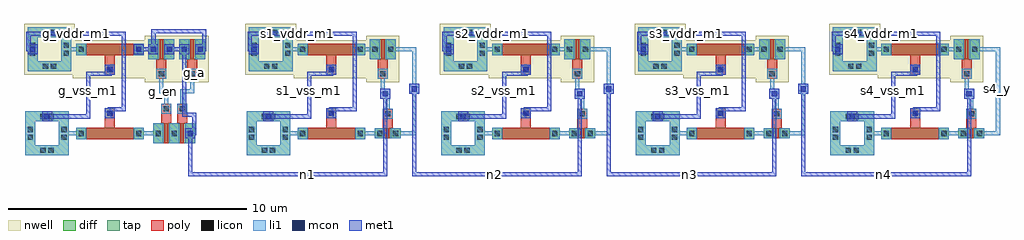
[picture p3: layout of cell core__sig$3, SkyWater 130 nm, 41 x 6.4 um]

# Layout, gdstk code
from math import pi, radians
import gdstk
lib = gdstk.Library(unit=1e-6, precision=1e-09)
def R(c, l, rs):  # rectangles x0, y0, x1, y1
    for r in rs: c.add(gdstk.rectangle(r[:2], r[2:], *l))
def A(c, l, x, y, w, h, nx, ny, dx, dy):  # array of equal rectangles
    R(c, l, [(x+i*dx, y+j*dy, x+i*dx+w, y+j*dy+h) for i in range(nx) for j in range(ny)])
def P(c, l, *ps):  # polygons
    for p in ps: c.add(gdstk.Polygon(p, *l))
nwell = (64, 20)
diff = (65, 20)
tap = (65, 44)
poly = (66, 20)
licon = (66, 44)
li1 = (67, 20)
mcon = (67, 44)
met1 = (68, 20)

mos_array_3_4_3 = lib.new_cell('mos_array$3$4$3')
R(mos_array_3_4_3, nwell, [(-0.15,-0.15,1.24,1.81)])
R(mos_array_3_4_3, diff, [(0,0,1.09,0.84)])
R(mos_array_3_4_3, poly, [(0.47,0,0.62,0.84), (0.335,0.84,0.755,1.66)])
R(mos_array_3_4_3, licon, [(0.1,0.31,0.32,0.53), (0.77,0.31,0.99,0.53), (0.435,1.34,0.655,1.56)])
R(mos_array_3_4_3, li1, [(0,0,0.42,0.84), (0.67,0,1.09,0.84), (0.335,1.24,0.755,1.66)])

mp__mp_3_3 = lib.new_cell('mp__mp$3$3')
mp__mp_3_3.add(gdstk.Reference(mos_array_3_4_3, (0,0)))

guard_ring_1_4_3 = lib.new_cell('guard_ring$1$4$3')
R(guard_ring_1_4_3, nwell, [(-0.15,-0.15,1.99,1.99)])
P(guard_ring_1_4_3, tap, [(0,0),(0,1.42),(0.42,1.42),(0.42,0.42),(1.42,0.42),(1.42,1.42),(0,1.42),(0,1.84),(1.84,1.84),(1.84,0)])
R(guard_ring_1_4_3, licon, [(0.643,0.1,0.863,0.32), (0.977,0.1,1.197,0.32), (0.1,0.643,0.32,0.863), (1.52,0.643,1.74,0.863), (0.1,0.977,0.32,1.197), (1.52,0.977,1.74,1.197), (0.643,1.52,0.863,1.74), (0.977,1.52,1.197,1.74)])
P(guard_ring_1_4_3, li1, [(0,0),(0,1.42),(0.42,1.42),(0.42,0.42),(1.42,0.42),(1.42,1.42),(0,1.42),(0,1.84),(1.84,1.84),(1.84,0)])

nwell_tap__nwell_tap_4_3 = lib.new_cell('nwell_tap__nwell_tap$4$3')
nwell_tap__nwell_tap_4_3.add(gdstk.Reference(guard_ring_1_4_3, (0,0)))

mos_array_2_4_3 = lib.new_cell('mos_array$2$4$3')
R(mos_array_2_4_3, nwell, [(-0.15,-0.15,2.99,1.45)])
R(mos_array_2_4_3, diff, [(0,0,2.84,0.48)])
R(mos_array_2_4_3, poly, [(0.42,0,2.42,0.48), (1.21,0.48,1.63,1.3)])
R(mos_array_2_4_3, licon, [(0.1,0.13,0.32,0.35), (2.52,0.13,2.74,0.35), (1.31,0.98,1.53,1.2)])
R(mos_array_2_4_3, li1, [(0,0,0.42,0.48), (2.42,0,2.84,0.48), (1.21,0.88,1.63,1.3)])

mph__mph_4_3 = lib.new_cell('mph__mph$4$3')
mph__mph_4_3.add(gdstk.Reference(mos_array_2_4_3, (0,0)))

mos_array_1_4_3 = lib.new_cell('mos_array$1$4$3')
R(mos_array_1_4_3, diff, [(0,0,1.09,0.42)])
R(mos_array_1_4_3, poly, [(0.47,0,0.62,0.42), (0.335,0.42,0.755,1.24)])
R(mos_array_1_4_3, licon, [(0.1,0.1,0.32,0.32), (0.77,0.1,0.99,0.32), (0.435,0.92,0.655,1.14)])
R(mos_array_1_4_3, li1, [(0,0,0.42,0.42), (0.67,0,1.09,0.42), (0.335,0.82,0.755,1.24)])

mn__mn_3_3 = lib.new_cell('mn__mn$3$3')
mn__mn_3_3.add(gdstk.Reference(mos_array_1_4_3, (0,0)))

guard_ring_5_3 = lib.new_cell('guard_ring$5$3')
P(guard_ring_5_3, tap, [(0,0),(0,1.42),(0.42,1.42),(0.42,0.42),(1.42,0.42),(1.42,1.42),(0,1.42),(0,1.84),(1.84,1.84),(1.84,0)])
R(guard_ring_5_3, licon, [(0.643,0.1,0.863,0.32), (0.977,0.1,1.197,0.32), (0.1,0.643,0.32,0.863), (1.52,0.643,1.74,0.863), (0.1,0.977,0.32,1.197), (1.52,0.977,1.74,1.197), (0.643,1.52,0.863,1.74), (0.977,1.52,1.197,1.74)])
P(guard_ring_5_3, li1, [(0,0),(0,1.42),(0.42,1.42),(0.42,0.42),(1.42,0.42),(1.42,1.42),(0,1.42),(0,1.84),(1.84,1.84),(1.84,0)])

psub_tap__psub_tap_4_3 = lib.new_cell('psub_tap__psub_tap$4$3')
psub_tap__psub_tap_4_3.add(gdstk.Reference(guard_ring_5_3, (0,0)))

mos_array_8_3 = lib.new_cell('mos_array$8$3')
R(mos_array_8_3, diff, [(0,0,2.84,0.48)])
R(mos_array_8_3, poly, [(0.42,0,2.42,0.48), (1.21,0.48,1.63,1.3)])
R(mos_array_8_3, licon, [(0.1,0.13,0.32,0.35), (2.52,0.13,2.74,0.35), (1.31,0.98,1.53,1.2)])
R(mos_array_8_3, li1, [(0,0,0.42,0.48), (2.42,0,2.84,0.48), (1.21,0.88,1.63,1.3)])

mnt__mnt_4_3 = lib.new_cell('mnt__mnt$4$3')
mnt__mnt_4_3.add(gdstk.Reference(mos_array_8_3, (0,0)))

core__core_4_3 = lib.new_cell('core__core$4$3')
R(core__core_4_3, li1, [(3.575,1.03,3.995,1.2), (3.375,2.54,3.795,2.71)])
core__core_4_3.add(gdstk.FlexPath([(3.585,2.71),(3.585,1.87),(3.785,1.87),(3.785,1.03)], 0.17, ends="flush", simple_path=True, layer=67, datatype=20))  # li1
core__core_4_3.add(gdstk.FlexPath([(3.92,3.74),(4.9,3.74),(4.9,0.21),(4.12,0.21)], 0.17, ends="flush", simple_path=True, layer=67, datatype=20))  # li1
core__core_4_3.add(gdstk.FlexPath([(2.63,3.74),(3.25,3.74)], 0.17, ends="flush", simple_path=True, layer=67, datatype=20))  # li1
core__core_4_3.add(gdstk.FlexPath([(2.63,0.21),(3.45,0.21)], 0.17, ends="flush", simple_path=True, layer=67, datatype=20))  # li1
core__core_4_3.add(gdstk.FlexPath([(0.21,3.74),(-0.41,3.74)], 0.17, ends="flush", simple_path=True, layer=67, datatype=20))  # li1
core__core_4_3.add(gdstk.FlexPath([(0.21,0.21),(-0.51,0.21)], 0.17, ends="flush", simple_path=True, layer=67, datatype=20))  # li1
core__core_4_3.add(gdstk.Reference(mp__mp_3_3, (3.04,4.16), x_reflection=True))
core__core_4_3.add(gdstk.Reference(nwell_tap__nwell_tap_4_3, (-2.04,2.82)))
core__core_4_3.add(gdstk.Reference(mph__mph_4_3, (0,3.98), x_reflection=True))
core__core_4_3.add(gdstk.Reference(mn__mn_3_3, (3.24,0)))
core__core_4_3.add(gdstk.Reference(psub_tap__psub_tap_4_3, (-2.14,-0.71)))
core__core_4_3.add(gdstk.Reference(mnt__mnt_4_3, (0,-0.03)))
core__core_4_3.add(gdstk.Label('a', (3.685,1.87), layer=67, texttype=5))
core__core_4_3.add(gdstk.Label('y', (4.9,2.075), layer=67, texttype=5))
core__core_4_3.add(gdstk.Label('py', (2.94,3.74), layer=67, texttype=5))
core__core_4_3.add(gdstk.Label('ny', (3.04,0.21), layer=67, texttype=5))
core__core_4_3.add(gdstk.Label('vddr', (-0.1,3.74), layer=67, texttype=5))
core__core_4_3.add(gdstk.Label('vss', (-0.15,0.21), layer=67, texttype=5))
core__core_4_3.add(gdstk.Label('vddr', (-1.83,3.74), layer=67, texttype=5))
core__core_4_3.add(gdstk.Label('vss', (-1.22,0.92), layer=67, texttype=5))
core__core_4_3.add(gdstk.Label('mph_g', (1.42,2.89), layer=67, texttype=5))
core__core_4_3.add(gdstk.Label('mnt_g', (1.42,1.06), layer=67, texttype=5))

s4__ro_stage_wstv0p48 = lib.new_cell('s4__ro_stage_wstv0p48')
R(s4__ro_stage_wstv0p48, li1, [(-1.43,0.71,-1.01,1.13), (1.21,0.85,1.63,1.27), (1.21,2.68,1.63,3.1), (-2.04,3.53,-1.62,3.95)])
R(s4__ro_stage_wstv0p48, mcon, [(-1.33,0.81,-1.11,1.03), (1.31,0.95,1.53,1.17), (1.31,2.78,1.53,3), (-1.94,3.63,-1.72,3.85)])
R(s4__ro_stage_wstv0p48, met1, [(-1.43,0.71,-1.01,1.13), (1.21,0.85,1.63,1.27), (1.21,2.68,1.63,3.1), (-2.04,3.53,-1.62,3.95)])
s4__ro_stage_wstv0p48.add(gdstk.FlexPath([(1.42,2.89),(1.42,2.72),(0.5,2.72),(0.5,0.92),(-1.22,0.92),(-1.22,0.92)], 0.17, ends="flush", simple_path=True, layer=68, datatype=20))  # met1
s4__ro_stage_wstv0p48.add(gdstk.FlexPath([(1.42,1.06),(1.42,1.23),(2.4,1.23),(2.4,4.4),(-2,4.4),(-2,3.74),(-1.83,3.74)], 0.17, ends="flush", simple_path=True, layer=68, datatype=20))  # met1
s4__ro_stage_wstv0p48.add(gdstk.Reference(core__core_4_3, (0,0)))
s4__ro_stage_wstv0p48.add(gdstk.Label('vss', (0.5,1.505), layer=68, texttype=5))
s4__ro_stage_wstv0p48.add(gdstk.Label('vddr', (1.945,4.4), layer=68, texttype=5))

mos_array_3_3_3 = lib.new_cell('mos_array$3$3$3')
R(mos_array_3_3_3, nwell, [(-0.15,-0.15,1.24,1.81)])
R(mos_array_3_3_3, diff, [(0,0,1.09,0.84)])
R(mos_array_3_3_3, poly, [(0.47,0,0.62,0.84), (0.335,0.84,0.755,1.66)])
R(mos_array_3_3_3, licon, [(0.1,0.31,0.32,0.53), (0.77,0.31,0.99,0.53), (0.435,1.34,0.655,1.56)])
R(mos_array_3_3_3, li1, [(0,0,0.42,0.84), (0.67,0,1.09,0.84), (0.335,1.24,0.755,1.66)])

mp__mp_2_3 = lib.new_cell('mp__mp$2$3')
mp__mp_2_3.add(gdstk.Reference(mos_array_3_3_3, (0,0)))

guard_ring_1_3_3 = lib.new_cell('guard_ring$1$3$3')
R(guard_ring_1_3_3, nwell, [(-0.15,-0.15,1.99,1.99)])
P(guard_ring_1_3_3, tap, [(0,0),(0,1.42),(0.42,1.42),(0.42,0.42),(1.42,0.42),(1.42,1.42),(0,1.42),(0,1.84),(1.84,1.84),(1.84,0)])
R(guard_ring_1_3_3, licon, [(0.643,0.1,0.863,0.32), (0.977,0.1,1.197,0.32), (0.1,0.643,0.32,0.863), (1.52,0.643,1.74,0.863), (0.1,0.977,0.32,1.197), (1.52,0.977,1.74,1.197), (0.643,1.52,0.863,1.74), (0.977,1.52,1.197,1.74)])
P(guard_ring_1_3_3, li1, [(0,0),(0,1.42),(0.42,1.42),(0.42,0.42),(1.42,0.42),(1.42,1.42),(0,1.42),(0,1.84),(1.84,1.84),(1.84,0)])

nwell_tap__nwell_tap_3_3 = lib.new_cell('nwell_tap__nwell_tap$3$3')
nwell_tap__nwell_tap_3_3.add(gdstk.Reference(guard_ring_1_3_3, (0,0)))

mos_array_2_3_3 = lib.new_cell('mos_array$2$3$3')
R(mos_array_2_3_3, nwell, [(-0.15,-0.15,2.99,1.45)])
R(mos_array_2_3_3, diff, [(0,0,2.84,0.48)])
R(mos_array_2_3_3, poly, [(0.42,0,2.42,0.48), (1.21,0.48,1.63,1.3)])
R(mos_array_2_3_3, licon, [(0.1,0.13,0.32,0.35), (2.52,0.13,2.74,0.35), (1.31,0.98,1.53,1.2)])
R(mos_array_2_3_3, li1, [(0,0,0.42,0.48), (2.42,0,2.84,0.48), (1.21,0.88,1.63,1.3)])

mph__mph_3_3 = lib.new_cell('mph__mph$3$3')
mph__mph_3_3.add(gdstk.Reference(mos_array_2_3_3, (0,0)))

mos_array_1_3_3 = lib.new_cell('mos_array$1$3$3')
R(mos_array_1_3_3, diff, [(0,0,1.09,0.42)])
R(mos_array_1_3_3, poly, [(0.47,0,0.62,0.42), (0.335,0.42,0.755,1.24)])
R(mos_array_1_3_3, licon, [(0.1,0.1,0.32,0.32), (0.77,0.1,0.99,0.32), (0.435,0.92,0.655,1.14)])
R(mos_array_1_3_3, li1, [(0,0,0.42,0.42), (0.67,0,1.09,0.42), (0.335,0.82,0.755,1.24)])

mn__mn_2_3 = lib.new_cell('mn__mn$2$3')
mn__mn_2_3.add(gdstk.Reference(mos_array_1_3_3, (0,0)))

guard_ring_4_3 = lib.new_cell('guard_ring$4$3')
P(guard_ring_4_3, tap, [(0,0),(0,1.42),(0.42,1.42),(0.42,0.42),(1.42,0.42),(1.42,1.42),(0,1.42),(0,1.84),(1.84,1.84),(1.84,0)])
R(guard_ring_4_3, licon, [(0.643,0.1,0.863,0.32), (0.977,0.1,1.197,0.32), (0.1,0.643,0.32,0.863), (1.52,0.643,1.74,0.863), (0.1,0.977,0.32,1.197), (1.52,0.977,1.74,1.197), (0.643,1.52,0.863,1.74), (0.977,1.52,1.197,1.74)])
P(guard_ring_4_3, li1, [(0,0),(0,1.42),(0.42,1.42),(0.42,0.42),(1.42,0.42),(1.42,1.42),(0,1.42),(0,1.84),(1.84,1.84),(1.84,0)])

psub_tap__psub_tap_3_3 = lib.new_cell('psub_tap__psub_tap$3$3')
psub_tap__psub_tap_3_3.add(gdstk.Reference(guard_ring_4_3, (0,0)))

mos_array_7_3 = lib.new_cell('mos_array$7$3')
R(mos_array_7_3, diff, [(0,0,2.84,0.48)])
R(mos_array_7_3, poly, [(0.42,0,2.42,0.48), (1.21,0.48,1.63,1.3)])
R(mos_array_7_3, licon, [(0.1,0.13,0.32,0.35), (2.52,0.13,2.74,0.35), (1.31,0.98,1.53,1.2)])
R(mos_array_7_3, li1, [(0,0,0.42,0.48), (2.42,0,2.84,0.48), (1.21,0.88,1.63,1.3)])

mnt__mnt_3_3 = lib.new_cell('mnt__mnt$3$3')
mnt__mnt_3_3.add(gdstk.Reference(mos_array_7_3, (0,0)))

core__core_3_3 = lib.new_cell('core__core$3$3')
R(core__core_3_3, li1, [(3.575,1.03,3.995,1.2), (3.375,2.54,3.795,2.71)])
core__core_3_3.add(gdstk.FlexPath([(3.585,2.71),(3.585,1.87),(3.785,1.87),(3.785,1.03)], 0.17, ends="flush", simple_path=True, layer=67, datatype=20))  # li1
core__core_3_3.add(gdstk.FlexPath([(3.92,3.74),(4.9,3.74),(4.9,0.21),(4.12,0.21)], 0.17, ends="flush", simple_path=True, layer=67, datatype=20))  # li1
core__core_3_3.add(gdstk.FlexPath([(2.63,3.74),(3.25,3.74)], 0.17, ends="flush", simple_path=True, layer=67, datatype=20))  # li1
core__core_3_3.add(gdstk.FlexPath([(2.63,0.21),(3.45,0.21)], 0.17, ends="flush", simple_path=True, layer=67, datatype=20))  # li1
core__core_3_3.add(gdstk.FlexPath([(0.21,3.74),(-0.41,3.74)], 0.17, ends="flush", simple_path=True, layer=67, datatype=20))  # li1
core__core_3_3.add(gdstk.FlexPath([(0.21,0.21),(-0.51,0.21)], 0.17, ends="flush", simple_path=True, layer=67, datatype=20))  # li1
core__core_3_3.add(gdstk.Reference(mp__mp_2_3, (3.04,4.16), x_reflection=True))
core__core_3_3.add(gdstk.Reference(nwell_tap__nwell_tap_3_3, (-2.04,2.82)))
core__core_3_3.add(gdstk.Reference(mph__mph_3_3, (0,3.98), x_reflection=True))
core__core_3_3.add(gdstk.Reference(mn__mn_2_3, (3.24,0)))
core__core_3_3.add(gdstk.Reference(psub_tap__psub_tap_3_3, (-2.14,-0.71)))
core__core_3_3.add(gdstk.Reference(mnt__mnt_3_3, (0,-0.03)))
core__core_3_3.add(gdstk.Label('a', (3.685,1.87), layer=67, texttype=5))
core__core_3_3.add(gdstk.Label('y', (4.9,2.075), layer=67, texttype=5))
core__core_3_3.add(gdstk.Label('py', (2.94,3.74), layer=67, texttype=5))
core__core_3_3.add(gdstk.Label('ny', (3.04,0.21), layer=67, texttype=5))
core__core_3_3.add(gdstk.Label('vddr', (-0.1,3.74), layer=67, texttype=5))
core__core_3_3.add(gdstk.Label('vss', (-0.15,0.21), layer=67, texttype=5))
core__core_3_3.add(gdstk.Label('vddr', (-1.83,3.74), layer=67, texttype=5))
core__core_3_3.add(gdstk.Label('vss', (-1.22,0.92), layer=67, texttype=5))
core__core_3_3.add(gdstk.Label('mph_g', (1.42,2.89), layer=67, texttype=5))
core__core_3_3.add(gdstk.Label('mnt_g', (1.42,1.06), layer=67, texttype=5))

s3__ro_stage_wstv0p48 = lib.new_cell('s3__ro_stage_wstv0p48')
R(s3__ro_stage_wstv0p48, li1, [(-1.43,0.71,-1.01,1.13), (1.21,0.85,1.63,1.27), (1.21,2.68,1.63,3.1), (-2.04,3.53,-1.62,3.95)])
R(s3__ro_stage_wstv0p48, mcon, [(-1.33,0.81,-1.11,1.03), (1.31,0.95,1.53,1.17), (1.31,2.78,1.53,3), (-1.94,3.63,-1.72,3.85)])
R(s3__ro_stage_wstv0p48, met1, [(-1.43,0.71,-1.01,1.13), (1.21,0.85,1.63,1.27), (1.21,2.68,1.63,3.1), (-2.04,3.53,-1.62,3.95)])
s3__ro_stage_wstv0p48.add(gdstk.FlexPath([(1.42,2.89),(1.42,2.72),(0.5,2.72),(0.5,0.92),(-1.22,0.92),(-1.22,0.92)], 0.17, ends="flush", simple_path=True, layer=68, datatype=20))  # met1
s3__ro_stage_wstv0p48.add(gdstk.FlexPath([(1.42,1.06),(1.42,1.23),(2.4,1.23),(2.4,4.4),(-2,4.4),(-2,3.74),(-1.83,3.74)], 0.17, ends="flush", simple_path=True, layer=68, datatype=20))  # met1
s3__ro_stage_wstv0p48.add(gdstk.Reference(core__core_3_3, (0,0)))
s3__ro_stage_wstv0p48.add(gdstk.Label('vss', (0.5,1.505), layer=68, texttype=5))
s3__ro_stage_wstv0p48.add(gdstk.Label('vddr', (1.945,4.4), layer=68, texttype=5))

mos_array_3_2_3 = lib.new_cell('mos_array$3$2$3')
R(mos_array_3_2_3, nwell, [(-0.15,-0.15,1.24,1.81)])
R(mos_array_3_2_3, diff, [(0,0,1.09,0.84)])
R(mos_array_3_2_3, poly, [(0.47,0,0.62,0.84), (0.335,0.84,0.755,1.66)])
R(mos_array_3_2_3, licon, [(0.1,0.31,0.32,0.53), (0.77,0.31,0.99,0.53), (0.435,1.34,0.655,1.56)])
R(mos_array_3_2_3, li1, [(0,0,0.42,0.84), (0.67,0,1.09,0.84), (0.335,1.24,0.755,1.66)])

mp__mp_1_3 = lib.new_cell('mp__mp$1$3')
mp__mp_1_3.add(gdstk.Reference(mos_array_3_2_3, (0,0)))

guard_ring_1_2_3 = lib.new_cell('guard_ring$1$2$3')
R(guard_ring_1_2_3, nwell, [(-0.15,-0.15,1.99,1.99)])
P(guard_ring_1_2_3, tap, [(0,0),(0,1.42),(0.42,1.42),(0.42,0.42),(1.42,0.42),(1.42,1.42),(0,1.42),(0,1.84),(1.84,1.84),(1.84,0)])
R(guard_ring_1_2_3, licon, [(0.643,0.1,0.863,0.32), (0.977,0.1,1.197,0.32), (0.1,0.643,0.32,0.863), (1.52,0.643,1.74,0.863), (0.1,0.977,0.32,1.197), (1.52,0.977,1.74,1.197), (0.643,1.52,0.863,1.74), (0.977,1.52,1.197,1.74)])
P(guard_ring_1_2_3, li1, [(0,0),(0,1.42),(0.42,1.42),(0.42,0.42),(1.42,0.42),(1.42,1.42),(0,1.42),(0,1.84),(1.84,1.84),(1.84,0)])

nwell_tap__nwell_tap_2_3 = lib.new_cell('nwell_tap__nwell_tap$2$3')
nwell_tap__nwell_tap_2_3.add(gdstk.Reference(guard_ring_1_2_3, (0,0)))

mos_array_2_2_3 = lib.new_cell('mos_array$2$2$3')
R(mos_array_2_2_3, nwell, [(-0.15,-0.15,2.99,1.45)])
R(mos_array_2_2_3, diff, [(0,0,2.84,0.48)])
R(mos_array_2_2_3, poly, [(0.42,0,2.42,0.48), (1.21,0.48,1.63,1.3)])
R(mos_array_2_2_3, licon, [(0.1,0.13,0.32,0.35), (2.52,0.13,2.74,0.35), (1.31,0.98,1.53,1.2)])
R(mos_array_2_2_3, li1, [(0,0,0.42,0.48), (2.42,0,2.84,0.48), (1.21,0.88,1.63,1.3)])

mph__mph_2_3 = lib.new_cell('mph__mph$2$3')
mph__mph_2_3.add(gdstk.Reference(mos_array_2_2_3, (0,0)))

mos_array_1_2_3 = lib.new_cell('mos_array$1$2$3')
R(mos_array_1_2_3, diff, [(0,0,1.09,0.42)])
R(mos_array_1_2_3, poly, [(0.47,0,0.62,0.42), (0.335,0.42,0.755,1.24)])
R(mos_array_1_2_3, licon, [(0.1,0.1,0.32,0.32), (0.77,0.1,0.99,0.32), (0.435,0.92,0.655,1.14)])
R(mos_array_1_2_3, li1, [(0,0,0.42,0.42), (0.67,0,1.09,0.42), (0.335,0.82,0.755,1.24)])

mn__mn_1_3 = lib.new_cell('mn__mn$1$3')
mn__mn_1_3.add(gdstk.Reference(mos_array_1_2_3, (0,0)))

guard_ring_3_3 = lib.new_cell('guard_ring$3$3')
P(guard_ring_3_3, tap, [(0,0),(0,1.42),(0.42,1.42),(0.42,0.42),(1.42,0.42),(1.42,1.42),(0,1.42),(0,1.84),(1.84,1.84),(1.84,0)])
R(guard_ring_3_3, licon, [(0.643,0.1,0.863,0.32), (0.977,0.1,1.197,0.32), (0.1,0.643,0.32,0.863), (1.52,0.643,1.74,0.863), (0.1,0.977,0.32,1.197), (1.52,0.977,1.74,1.197), (0.643,1.52,0.863,1.74), (0.977,1.52,1.197,1.74)])
P(guard_ring_3_3, li1, [(0,0),(0,1.42),(0.42,1.42),(0.42,0.42),(1.42,0.42),(1.42,1.42),(0,1.42),(0,1.84),(1.84,1.84),(1.84,0)])

psub_tap__psub_tap_2_3 = lib.new_cell('psub_tap__psub_tap$2$3')
psub_tap__psub_tap_2_3.add(gdstk.Reference(guard_ring_3_3, (0,0)))

mos_array_6_3 = lib.new_cell('mos_array$6$3')
R(mos_array_6_3, diff, [(0,0,2.84,0.48)])
R(mos_array_6_3, poly, [(0.42,0,2.42,0.48), (1.21,0.48,1.63,1.3)])
R(mos_array_6_3, licon, [(0.1,0.13,0.32,0.35), (2.52,0.13,2.74,0.35), (1.31,0.98,1.53,1.2)])
R(mos_array_6_3, li1, [(0,0,0.42,0.48), (2.42,0,2.84,0.48), (1.21,0.88,1.63,1.3)])

mnt__mnt_2_3 = lib.new_cell('mnt__mnt$2$3')
mnt__mnt_2_3.add(gdstk.Reference(mos_array_6_3, (0,0)))

core__core_2_3 = lib.new_cell('core__core$2$3')
R(core__core_2_3, li1, [(3.575,1.03,3.995,1.2), (3.375,2.54,3.795,2.71)])
core__core_2_3.add(gdstk.FlexPath([(3.585,2.71),(3.585,1.87),(3.785,1.87),(3.785,1.03)], 0.17, ends="flush", simple_path=True, layer=67, datatype=20))  # li1
core__core_2_3.add(gdstk.FlexPath([(3.92,3.74),(4.9,3.74),(4.9,0.21),(4.12,0.21)], 0.17, ends="flush", simple_path=True, layer=67, datatype=20))  # li1
core__core_2_3.add(gdstk.FlexPath([(2.63,3.74),(3.25,3.74)], 0.17, ends="flush", simple_path=True, layer=67, datatype=20))  # li1
core__core_2_3.add(gdstk.FlexPath([(2.63,0.21),(3.45,0.21)], 0.17, ends="flush", simple_path=True, layer=67, datatype=20))  # li1
core__core_2_3.add(gdstk.FlexPath([(0.21,3.74),(-0.41,3.74)], 0.17, ends="flush", simple_path=True, layer=67, datatype=20))  # li1
core__core_2_3.add(gdstk.FlexPath([(0.21,0.21),(-0.51,0.21)], 0.17, ends="flush", simple_path=True, layer=67, datatype=20))  # li1
core__core_2_3.add(gdstk.Reference(mp__mp_1_3, (3.04,4.16), x_reflection=True))
core__core_2_3.add(gdstk.Reference(nwell_tap__nwell_tap_2_3, (-2.04,2.82)))
core__core_2_3.add(gdstk.Reference(mph__mph_2_3, (0,3.98), x_reflection=True))
core__core_2_3.add(gdstk.Reference(mn__mn_1_3, (3.24,0)))
core__core_2_3.add(gdstk.Reference(psub_tap__psub_tap_2_3, (-2.14,-0.71)))
core__core_2_3.add(gdstk.Reference(mnt__mnt_2_3, (0,-0.03)))
core__core_2_3.add(gdstk.Label('a', (3.685,1.87), layer=67, texttype=5))
core__core_2_3.add(gdstk.Label('y', (4.9,2.075), layer=67, texttype=5))
core__core_2_3.add(gdstk.Label('py', (2.94,3.74), layer=67, texttype=5))
core__core_2_3.add(gdstk.Label('ny', (3.04,0.21), layer=67, texttype=5))
core__core_2_3.add(gdstk.Label('vddr', (-0.1,3.74), layer=67, texttype=5))
core__core_2_3.add(gdstk.Label('vss', (-0.15,0.21), layer=67, texttype=5))
core__core_2_3.add(gdstk.Label('vddr', (-1.83,3.74), layer=67, texttype=5))
core__core_2_3.add(gdstk.Label('vss', (-1.22,0.92), layer=67, texttype=5))
core__core_2_3.add(gdstk.Label('mph_g', (1.42,2.89), layer=67, texttype=5))
core__core_2_3.add(gdstk.Label('mnt_g', (1.42,1.06), layer=67, texttype=5))

s2__ro_stage_wstv0p48 = lib.new_cell('s2__ro_stage_wstv0p48')
R(s2__ro_stage_wstv0p48, li1, [(-1.43,0.71,-1.01,1.13), (1.21,0.85,1.63,1.27), (1.21,2.68,1.63,3.1), (-2.04,3.53,-1.62,3.95)])
R(s2__ro_stage_wstv0p48, mcon, [(-1.33,0.81,-1.11,1.03), (1.31,0.95,1.53,1.17), (1.31,2.78,1.53,3), (-1.94,3.63,-1.72,3.85)])
R(s2__ro_stage_wstv0p48, met1, [(-1.43,0.71,-1.01,1.13), (1.21,0.85,1.63,1.27), (1.21,2.68,1.63,3.1), (-2.04,3.53,-1.62,3.95)])
s2__ro_stage_wstv0p48.add(gdstk.FlexPath([(1.42,2.89),(1.42,2.72),(0.5,2.72),(0.5,0.92),(-1.22,0.92),(-1.22,0.92)], 0.17, ends="flush", simple_path=True, layer=68, datatype=20))  # met1
s2__ro_stage_wstv0p48.add(gdstk.FlexPath([(1.42,1.06),(1.42,1.23),(2.4,1.23),(2.4,4.4),(-2,4.4),(-2,3.74),(-1.83,3.74)], 0.17, ends="flush", simple_path=True, layer=68, datatype=20))  # met1
s2__ro_stage_wstv0p48.add(gdstk.Reference(core__core_2_3, (0,0)))
s2__ro_stage_wstv0p48.add(gdstk.Label('vss', (0.5,1.505), layer=68, texttype=5))
s2__ro_stage_wstv0p48.add(gdstk.Label('vddr', (1.945,4.4), layer=68, texttype=5))

mos_array_3_1_3 = lib.new_cell('mos_array$3$1$3')
R(mos_array_3_1_3, nwell, [(-0.15,-0.15,1.24,1.81)])
R(mos_array_3_1_3, diff, [(0,0,1.09,0.84)])
R(mos_array_3_1_3, poly, [(0.47,0,0.62,0.84), (0.335,0.84,0.755,1.66)])
R(mos_array_3_1_3, licon, [(0.1,0.31,0.32,0.53), (0.77,0.31,0.99,0.53), (0.435,1.34,0.655,1.56)])
R(mos_array_3_1_3, li1, [(0,0,0.42,0.84), (0.67,0,1.09,0.84), (0.335,1.24,0.755,1.66)])

mp__mp_6 = lib.new_cell('mp__mp$6')
mp__mp_6.add(gdstk.Reference(mos_array_3_1_3, (0,0)))

guard_ring_1_1_3 = lib.new_cell('guard_ring$1$1$3')
R(guard_ring_1_1_3, nwell, [(-0.15,-0.15,1.99,1.99)])
P(guard_ring_1_1_3, tap, [(0,0),(0,1.42),(0.42,1.42),(0.42,0.42),(1.42,0.42),(1.42,1.42),(0,1.42),(0,1.84),(1.84,1.84),(1.84,0)])
R(guard_ring_1_1_3, licon, [(0.643,0.1,0.863,0.32), (0.977,0.1,1.197,0.32), (0.1,0.643,0.32,0.863), (1.52,0.643,1.74,0.863), (0.1,0.977,0.32,1.197), (1.52,0.977,1.74,1.197), (0.643,1.52,0.863,1.74), (0.977,1.52,1.197,1.74)])
P(guard_ring_1_1_3, li1, [(0,0),(0,1.42),(0.42,1.42),(0.42,0.42),(1.42,0.42),(1.42,1.42),(0,1.42),(0,1.84),(1.84,1.84),(1.84,0)])

nwell_tap__nwell_tap_1_3 = lib.new_cell('nwell_tap__nwell_tap$1$3')
nwell_tap__nwell_tap_1_3.add(gdstk.Reference(guard_ring_1_1_3, (0,0)))

mos_array_2_1_3 = lib.new_cell('mos_array$2$1$3')
R(mos_array_2_1_3, nwell, [(-0.15,-0.15,2.99,1.45)])
R(mos_array_2_1_3, diff, [(0,0,2.84,0.48)])
R(mos_array_2_1_3, poly, [(0.42,0,2.42,0.48), (1.21,0.48,1.63,1.3)])
R(mos_array_2_1_3, licon, [(0.1,0.13,0.32,0.35), (2.52,0.13,2.74,0.35), (1.31,0.98,1.53,1.2)])
R(mos_array_2_1_3, li1, [(0,0,0.42,0.48), (2.42,0,2.84,0.48), (1.21,0.88,1.63,1.3)])

mph__mph_1_3 = lib.new_cell('mph__mph$1$3')
mph__mph_1_3.add(gdstk.Reference(mos_array_2_1_3, (0,0)))

mos_array_1_1_3 = lib.new_cell('mos_array$1$1$3')
R(mos_array_1_1_3, diff, [(0,0,1.09,0.42)])
R(mos_array_1_1_3, poly, [(0.47,0,0.62,0.42), (0.335,0.42,0.755,1.24)])
R(mos_array_1_1_3, licon, [(0.1,0.1,0.32,0.32), (0.77,0.1,0.99,0.32), (0.435,0.92,0.655,1.14)])
R(mos_array_1_1_3, li1, [(0,0,0.42,0.42), (0.67,0,1.09,0.42), (0.335,0.82,0.755,1.24)])

mn__mn_6 = lib.new_cell('mn__mn$6')
mn__mn_6.add(gdstk.Reference(mos_array_1_1_3, (0,0)))

guard_ring_2_3 = lib.new_cell('guard_ring$2$3')
P(guard_ring_2_3, tap, [(0,0),(0,1.42),(0.42,1.42),(0.42,0.42),(1.42,0.42),(1.42,1.42),(0,1.42),(0,1.84),(1.84,1.84),(1.84,0)])
R(guard_ring_2_3, licon, [(0.643,0.1,0.863,0.32), (0.977,0.1,1.197,0.32), (0.1,0.643,0.32,0.863), (1.52,0.643,1.74,0.863), (0.1,0.977,0.32,1.197), (1.52,0.977,1.74,1.197), (0.643,1.52,0.863,1.74), (0.977,1.52,1.197,1.74)])
P(guard_ring_2_3, li1, [(0,0),(0,1.42),(0.42,1.42),(0.42,0.42),(1.42,0.42),(1.42,1.42),(0,1.42),(0,1.84),(1.84,1.84),(1.84,0)])

psub_tap__psub_tap_1_3 = lib.new_cell('psub_tap__psub_tap$1$3')
psub_tap__psub_tap_1_3.add(gdstk.Reference(guard_ring_2_3, (0,0)))

mos_array_5_3 = lib.new_cell('mos_array$5$3')
R(mos_array_5_3, diff, [(0,0,2.84,0.48)])
R(mos_array_5_3, poly, [(0.42,0,2.42,0.48), (1.21,0.48,1.63,1.3)])
R(mos_array_5_3, licon, [(0.1,0.13,0.32,0.35), (2.52,0.13,2.74,0.35), (1.31,0.98,1.53,1.2)])
R(mos_array_5_3, li1, [(0,0,0.42,0.48), (2.42,0,2.84,0.48), (1.21,0.88,1.63,1.3)])

mnt__mnt_1_3 = lib.new_cell('mnt__mnt$1$3')
mnt__mnt_1_3.add(gdstk.Reference(mos_array_5_3, (0,0)))

core__core_1_3 = lib.new_cell('core__core$1$3')
R(core__core_1_3, li1, [(3.575,1.03,3.995,1.2), (3.375,2.54,3.795,2.71)])
core__core_1_3.add(gdstk.FlexPath([(3.585,2.71),(3.585,1.87),(3.785,1.87),(3.785,1.03)], 0.17, ends="flush", simple_path=True, layer=67, datatype=20))  # li1
core__core_1_3.add(gdstk.FlexPath([(3.92,3.74),(4.9,3.74),(4.9,0.21),(4.12,0.21)], 0.17, ends="flush", simple_path=True, layer=67, datatype=20))  # li1
core__core_1_3.add(gdstk.FlexPath([(2.63,3.74),(3.25,3.74)], 0.17, ends="flush", simple_path=True, layer=67, datatype=20))  # li1
core__core_1_3.add(gdstk.FlexPath([(2.63,0.21),(3.45,0.21)], 0.17, ends="flush", simple_path=True, layer=67, datatype=20))  # li1
core__core_1_3.add(gdstk.FlexPath([(0.21,3.74),(-0.41,3.74)], 0.17, ends="flush", simple_path=True, layer=67, datatype=20))  # li1
core__core_1_3.add(gdstk.FlexPath([(0.21,0.21),(-0.51,0.21)], 0.17, ends="flush", simple_path=True, layer=67, datatype=20))  # li1
core__core_1_3.add(gdstk.Reference(mp__mp_6, (3.04,4.16), x_reflection=True))
core__core_1_3.add(gdstk.Reference(nwell_tap__nwell_tap_1_3, (-2.04,2.82)))
core__core_1_3.add(gdstk.Reference(mph__mph_1_3, (0,3.98), x_reflection=True))
core__core_1_3.add(gdstk.Reference(mn__mn_6, (3.24,0)))
core__core_1_3.add(gdstk.Reference(psub_tap__psub_tap_1_3, (-2.14,-0.71)))
core__core_1_3.add(gdstk.Reference(mnt__mnt_1_3, (0,-0.03)))
core__core_1_3.add(gdstk.Label('a', (3.685,1.87), layer=67, texttype=5))
core__core_1_3.add(gdstk.Label('y', (4.9,2.075), layer=67, texttype=5))
core__core_1_3.add(gdstk.Label('py', (2.94,3.74), layer=67, texttype=5))
core__core_1_3.add(gdstk.Label('ny', (3.04,0.21), layer=67, texttype=5))
core__core_1_3.add(gdstk.Label('vddr', (-0.1,3.74), layer=67, texttype=5))
core__core_1_3.add(gdstk.Label('vss', (-0.15,0.21), layer=67, texttype=5))
core__core_1_3.add(gdstk.Label('vddr', (-1.83,3.74), layer=67, texttype=5))
core__core_1_3.add(gdstk.Label('vss', (-1.22,0.92), layer=67, texttype=5))
core__core_1_3.add(gdstk.Label('mph_g', (1.42,2.89), layer=67, texttype=5))
core__core_1_3.add(gdstk.Label('mnt_g', (1.42,1.06), layer=67, texttype=5))

s1__ro_stage_wstv0p48 = lib.new_cell('s1__ro_stage_wstv0p48')
R(s1__ro_stage_wstv0p48, li1, [(-1.43,0.71,-1.01,1.13), (1.21,0.85,1.63,1.27), (1.21,2.68,1.63,3.1), (-2.04,3.53,-1.62,3.95)])
R(s1__ro_stage_wstv0p48, mcon, [(-1.33,0.81,-1.11,1.03), (1.31,0.95,1.53,1.17), (1.31,2.78,1.53,3), (-1.94,3.63,-1.72,3.85)])
R(s1__ro_stage_wstv0p48, met1, [(-1.43,0.71,-1.01,1.13), (1.21,0.85,1.63,1.27), (1.21,2.68,1.63,3.1), (-2.04,3.53,-1.62,3.95)])
s1__ro_stage_wstv0p48.add(gdstk.FlexPath([(1.42,2.89),(1.42,2.72),(0.5,2.72),(0.5,0.92),(-1.22,0.92),(-1.22,0.92)], 0.17, ends="flush", simple_path=True, layer=68, datatype=20))  # met1
s1__ro_stage_wstv0p48.add(gdstk.FlexPath([(1.42,1.06),(1.42,1.23),(2.4,1.23),(2.4,4.4),(-2,4.4),(-2,3.74),(-1.83,3.74)], 0.17, ends="flush", simple_path=True, layer=68, datatype=20))  # met1
s1__ro_stage_wstv0p48.add(gdstk.Reference(core__core_1_3, (0,0)))
s1__ro_stage_wstv0p48.add(gdstk.Label('vss', (0.5,1.505), layer=68, texttype=5))
s1__ro_stage_wstv0p48.add(gdstk.Label('vddr', (1.945,4.4), layer=68, texttype=5))

guard_ring_1_10 = lib.new_cell('guard_ring$1$10')
P(guard_ring_1_10, tap, [(0,0),(0,1.42),(0.42,1.42),(0.42,0.42),(1.42,0.42),(1.42,1.42),(0,1.42),(0,1.84),(1.84,1.84),(1.84,0)])
R(guard_ring_1_10, licon, [(0.643,0.1,0.863,0.32), (0.977,0.1,1.197,0.32), (0.1,0.643,0.32,0.863), (1.52,0.643,1.74,0.863), (0.1,0.977,0.32,1.197), (1.52,0.977,1.74,1.197), (0.643,1.52,0.863,1.74), (0.977,1.52,1.197,1.74)])
P(guard_ring_1_10, li1, [(0,0),(0,1.42),(0.42,1.42),(0.42,0.42),(1.42,0.42),(1.42,1.42),(0,1.42),(0,1.84),(1.84,1.84),(1.84,0)])

psub_tap__psub_tap_10 = lib.new_cell('psub_tap__psub_tap$10')
psub_tap__psub_tap_10.add(gdstk.Reference(guard_ring_1_10, (0,0)))

guard_ring_11 = lib.new_cell('guard_ring$11')
R(guard_ring_11, nwell, [(-0.15,-0.15,1.99,1.99)])
P(guard_ring_11, tap, [(0,0),(0,1.42),(0.42,1.42),(0.42,0.42),(1.42,0.42),(1.42,1.42),(0,1.42),(0,1.84),(1.84,1.84),(1.84,0)])
R(guard_ring_11, licon, [(0.643,0.1,0.863,0.32), (0.977,0.1,1.197,0.32), (0.1,0.643,0.32,0.863), (1.52,0.643,1.74,0.863), (0.1,0.977,0.32,1.197), (1.52,0.977,1.74,1.197), (0.643,1.52,0.863,1.74), (0.977,1.52,1.197,1.74)])
P(guard_ring_11, li1, [(0,0),(0,1.42),(0.42,1.42),(0.42,0.42),(1.42,0.42),(1.42,1.42),(0,1.42),(0,1.84),(1.84,1.84),(1.84,0)])

nwell_tap__nwell_tap_10 = lib.new_cell('nwell_tap__nwell_tap$10')
nwell_tap__nwell_tap_10.add(gdstk.Reference(guard_ring_11, (0,0)))

mos_array_4_3 = lib.new_cell('mos_array$4$3')
R(mos_array_4_3, diff, [(0,0,1.76,0.84)])
R(mos_array_4_3, poly, [(0.47,0,0.62,0.84), (1.14,0,1.29,0.84), (0.335,0.84,0.755,1.66), (1.005,0.84,1.425,1.66)])
A(mos_array_4_3, licon, 0.1, 0.31, 0.22, 0.22, 3, 1, 0.67, 0)
R(mos_array_4_3, licon, [(0.435,1.34,0.655,1.56), (1.105,1.34,1.325,1.56)])
A(mos_array_4_3, li1, 0, 0, 0.42, 0.84, 3, 1, 0.67, 0)
R(mos_array_4_3, li1, [(0.335,1.24,0.755,1.66), (1.005,1.24,1.425,1.66)])

mnab__mnab_3 = lib.new_cell('mnab__mnab$3')
mnab__mnab_3.add(gdstk.Reference(mos_array_4_3, (0,0)))

mos_array_3_7 = lib.new_cell('mos_array$3$7')
R(mos_array_3_7, diff, [(0,0,2.84,0.48)])
R(mos_array_3_7, poly, [(0.42,0,2.42,0.48), (1.21,0.48,1.63,1.3)])
R(mos_array_3_7, licon, [(0.1,0.13,0.32,0.35), (2.52,0.13,2.74,0.35), (1.31,0.98,1.53,1.2)])
R(mos_array_3_7, li1, [(0,0,0.42,0.48), (2.42,0,2.84,0.48), (1.21,0.88,1.63,1.3)])

mnt__mnt_7 = lib.new_cell('mnt__mnt$7')
mnt__mnt_7.add(gdstk.Reference(mos_array_3_7, (0,0)))

mos_array_2_7 = lib.new_cell('mos_array$2$7')
R(mos_array_2_7, nwell, [(-0.15,-0.15,1.24,1.81)])
R(mos_array_2_7, diff, [(0,0,1.09,0.84)])
R(mos_array_2_7, poly, [(0.47,0,0.62,0.84), (0.335,0.84,0.755,1.66)])
R(mos_array_2_7, licon, [(0.1,0.31,0.32,0.53), (0.77,0.31,0.99,0.53), (0.435,1.34,0.655,1.56)])
R(mos_array_2_7, li1, [(0,0,0.42,0.84), (0.67,0,1.09,0.84), (0.335,1.24,0.755,1.66)])

mpb__mpb_3 = lib.new_cell('mpb__mpb$3')
mpb__mpb_3.add(gdstk.Reference(mos_array_2_7, (0,0)))

mos_array_1_10 = lib.new_cell('mos_array$1$10')
R(mos_array_1_10, nwell, [(-0.15,-0.15,1.24,1.81)])
R(mos_array_1_10, diff, [(0,0,1.09,0.84)])
R(mos_array_1_10, poly, [(0.47,0,0.62,0.84), (0.335,0.84,0.755,1.66)])
R(mos_array_1_10, licon, [(0.1,0.31,0.32,0.53), (0.77,0.31,0.99,0.53), (0.435,1.34,0.655,1.56)])
R(mos_array_1_10, li1, [(0,0,0.42,0.84), (0.67,0,1.09,0.84), (0.335,1.24,0.755,1.66)])

mpa__mpa_3 = lib.new_cell('mpa__mpa$3')
mpa__mpa_3.add(gdstk.Reference(mos_array_1_10, (0,0)))

mos_array_14 = lib.new_cell('mos_array$14')
R(mos_array_14, nwell, [(-0.15,-0.15,2.99,1.45)])
R(mos_array_14, diff, [(0,0,2.84,0.48)])
R(mos_array_14, poly, [(0.42,0,2.42,0.48), (1.21,0.48,1.63,1.3)])
R(mos_array_14, licon, [(0.1,0.13,0.32,0.35), (2.52,0.13,2.74,0.35), (1.31,0.98,1.53,1.2)])
R(mos_array_14, li1, [(0,0,0.42,0.48), (2.42,0,2.84,0.48), (1.21,0.88,1.63,1.3)])

mph__mph_7 = lib.new_cell('mph__mph$7')
mph__mph_7.add(gdstk.Reference(mos_array_14, (0,0)))

core__core_7 = lib.new_cell('core__core$7')
R(core__core_7, li1, [(3.575,1.24,3.995,1.41), (4.245,1.24,4.665,1.41), (3.375,2.54,3.795,2.71), (4.665,2.54,5.085,2.71)])
core__core_7.add(gdstk.FlexPath([(0.21,3.74),(-0.41,3.74)], 0.17, ends="flush", simple_path=True, layer=67, datatype=20))  # li1
core__core_7.add(gdstk.FlexPath([(0.21,0.21),(-0.51,0.21)], 0.17, ends="flush", simple_path=True, layer=67, datatype=20))  # li1
core__core_7.add(gdstk.FlexPath([(2.63,0.21),(3.45,0.21)], 0.17, ends="flush", simple_path=True, layer=67, datatype=20))  # li1
core__core_7.add(gdstk.FlexPath([(3.585,2.71),(3.585,1.975),(3.785,1.975),(3.785,1.24)], 0.17, ends="flush", simple_path=True, layer=67, datatype=20))  # li1
core__core_7.add(gdstk.FlexPath([(4.875,2.71),(4.875,1.975),(4.455,1.975),(4.455,1.24)], 0.17, ends="flush", simple_path=True, layer=67, datatype=20))  # li1
core__core_7.add(gdstk.Reference(psub_tap__psub_tap_10, (-2.14,-0.71)))
core__core_7.add(gdstk.Reference(nwell_tap__nwell_tap_10, (-2.04,2.82)))
core__core_7.add(gdstk.Reference(mnab__mnab_3, (3.24,-0.21)))
core__core_7.add(gdstk.Reference(mnt__mnt_7, (0,-0.03)))
core__core_7.add(gdstk.Reference(mpb__mpb_3, (5.42,4.16), rotation=pi))
core__core_7.add(gdstk.Reference(mpa__mpa_3, (3.04,4.16), x_reflection=True))
core__core_7.add(gdstk.Reference(mph__mph_7, (0,3.98), x_reflection=True))
core__core_7.add(gdstk.Label('vddr', (-0.1,3.74), layer=67, texttype=5))
core__core_7.add(gdstk.Label('vss', (-0.15,0.21), layer=67, texttype=5))
core__core_7.add(gdstk.Label('ny', (3.04,0.21), layer=67, texttype=5))
core__core_7.add(gdstk.Label('en', (3.685,1.975), layer=67, texttype=5))
core__core_7.add(gdstk.Label('a', (4.665,1.975), layer=67, texttype=5))
core__core_7.add(gdstk.Label('vddr', (-1.83,3.74), layer=67, texttype=5))
core__core_7.add(gdstk.Label('vss', (-1.22,0.92), layer=67, texttype=5))
core__core_7.add(gdstk.Label('mph_py', (2.63,3.74), layer=67, texttype=5))
core__core_7.add(gdstk.Label('mpa_py', (3.25,3.74), layer=67, texttype=5))
core__core_7.add(gdstk.Label('mpb_py', (5.21,3.74), layer=67, texttype=5))
core__core_7.add(gdstk.Label('mpa_y', (3.92,3.74), layer=67, texttype=5))
core__core_7.add(gdstk.Label('mpb_y', (4.54,3.74), layer=67, texttype=5))
core__core_7.add(gdstk.Label('mnab_y', (4.79,0.21), layer=67, texttype=5))
core__core_7.add(gdstk.Label('mph_g', (1.42,2.89), layer=67, texttype=5))
core__core_7.add(gdstk.Label('mnt_g', (1.42,1.06), layer=67, texttype=5))

g__ro_nand2_wstv0p48 = lib.new_cell('g__ro_nand2_wstv0p48')
R(g__ro_nand2_wstv0p48, li1, [(4.58,0,5,0.42), (-1.43,0.71,-1.01,1.13), (1.21,0.85,1.63,1.27), (1.21,2.68,1.63,3.1), (-2.04,3.53,-1.62,3.95), (2.42,3.53,2.84,3.95), (3.04,3.53,3.46,3.95), (3.04,3.53,3.46,3.95), (3.71,3.53,4.13,3.95), (4.33,3.53,4.75,3.95), (4.33,3.53,4.75,3.95), (5,3.53,5.42,3.95)])
R(g__ro_nand2_wstv0p48, mcon, [(4.68,0.1,4.9,0.32), (-1.33,0.81,-1.11,1.03), (1.31,0.95,1.53,1.17), (1.31,2.78,1.53,3), (-1.94,3.63,-1.72,3.85), (2.52,3.63,2.74,3.85), (3.14,3.63,3.36,3.85), (3.14,3.63,3.36,3.85), (3.81,3.63,4.03,3.85), (4.43,3.63,4.65,3.85), (4.43,3.63,4.65,3.85), (5.1,3.63,5.32,3.85)])
R(g__ro_nand2_wstv0p48, met1, [(4.58,0,5,0.42), (-1.43,0.71,-1.01,1.13), (1.21,0.85,1.63,1.27), (1.21,2.68,1.63,3.1), (-2.04,3.53,-1.62,3.95), (2.42,3.53,2.84,3.95), (3.04,3.53,3.46,3.95), (3.04,3.53,3.46,3.95), (3.71,3.53,4.13,3.95), (4.33,3.53,4.75,3.95), (4.33,3.53,4.75,3.95), (5,3.53,5.42,3.95)])
g__ro_nand2_wstv0p48.add(gdstk.FlexPath([(2.63,3.74),(3.25,3.74)], 0.17, ends="flush", simple_path=True, layer=68, datatype=20))  # met1
g__ro_nand2_wstv0p48.add(gdstk.FlexPath([(3.25,3.74),(3.25,4.5),(5.38,4.5),(5.38,3.74),(5.21,3.74)], 0.17, ends="flush", simple_path=True, layer=68, datatype=20))  # met1
g__ro_nand2_wstv0p48.add(gdstk.FlexPath([(3.92,3.74),(4.54,3.74)], 0.17, ends="flush", simple_path=True, layer=68, datatype=20))  # met1
g__ro_nand2_wstv0p48.add(gdstk.FlexPath([(4.54,3.74),(4.54,1),(4.96,1),(4.96,0.21),(4.79,0.21)], 0.17, ends="flush", simple_path=True, layer=68, datatype=20))  # met1
g__ro_nand2_wstv0p48.add(gdstk.FlexPath([(1.42,2.89),(1.42,2.72),(0.5,2.72),(0.5,0.92),(-1.22,0.92),(-1.22,0.92)], 0.17, ends="flush", simple_path=True, layer=68, datatype=20))  # met1
g__ro_nand2_wstv0p48.add(gdstk.FlexPath([(1.42,1.06),(1.42,1.23),(2,1.23),(2,4.4),(-2,4.4),(-2,3.74),(-1.83,3.74)], 0.17, ends="flush", simple_path=True, layer=68, datatype=20))  # met1
g__ro_nand2_wstv0p48.add(gdstk.Reference(core__core_7, (0,0)))
g__ro_nand2_wstv0p48.add(gdstk.Label('py', (2.94,3.74), layer=68, texttype=5))
g__ro_nand2_wstv0p48.add(gdstk.Label('py', (4.4,4.5), layer=68, texttype=5))
g__ro_nand2_wstv0p48.add(gdstk.Label('y', (4.23,3.74), layer=68, texttype=5))
g__ro_nand2_wstv0p48.add(gdstk.Label('y', (4.54,1.68), layer=68, texttype=5))
g__ro_nand2_wstv0p48.add(gdstk.Label('vss', (0.5,1.505), layer=68, texttype=5))
g__ro_nand2_wstv0p48.add(gdstk.Label('vddr', (1.545,4.4), layer=68, texttype=5))

core__place_3 = lib.new_cell('core__place$3')
core__place_3.add(gdstk.Reference(s4__ro_stage_wstv0p48, (33.825,0)))
core__place_3.add(gdstk.Reference(s3__ro_stage_wstv0p48, (25.65,0)))
core__place_3.add(gdstk.Reference(s2__ro_stage_wstv0p48, (17.475,0)))
core__place_3.add(gdstk.Reference(s1__ro_stage_wstv0p48, (9.3,0)))
core__place_3.add(gdstk.Reference(g__ro_nand2_wstv0p48, (0,0)))
core__place_3.add(gdstk.Label('g_a', (4.98,2.75), layer=67, texttype=5))
core__place_3.add(gdstk.Label('g_en', (3.685,1.975), layer=67, texttype=5))
core__place_3.add(gdstk.Label('g_y', (4.79,0.21), layer=67, texttype=5))
core__place_3.add(gdstk.Label('s1_a', (12.985,1.87), layer=67, texttype=5))
core__place_3.add(gdstk.Label('s1_y', (14.2,2.075), layer=67, texttype=5))
core__place_3.add(gdstk.Label('s2_a', (21.16,1.87), layer=67, texttype=5))
core__place_3.add(gdstk.Label('s2_y', (22.375,2.075), layer=67, texttype=5))
core__place_3.add(gdstk.Label('s3_a', (29.335,1.87), layer=67, texttype=5))
core__place_3.add(gdstk.Label('s3_y', (30.55,2.075), layer=67, texttype=5))
core__place_3.add(gdstk.Label('s4_a', (37.51,1.87), layer=67, texttype=5))
core__place_3.add(gdstk.Label('s4_y', (38.725,2.075), layer=67, texttype=5))
core__place_3.add(gdstk.Label('g_vddr_m1', (0,4.4), layer=68, texttype=5))
core__place_3.add(gdstk.Label('g_vss_m1', (0.5,2), layer=68, texttype=5))
core__place_3.add(gdstk.Label('s1_vddr_m1', (9.3,4.4), layer=68, texttype=5))
core__place_3.add(gdstk.Label('s1_vss_m1', (9.8,2), layer=68, texttype=5))
core__place_3.add(gdstk.Label('s2_vddr_m1', (17.475,4.4), layer=68, texttype=5))
core__place_3.add(gdstk.Label('s2_vss_m1', (17.975,2), layer=68, texttype=5))
core__place_3.add(gdstk.Label('s3_vddr_m1', (25.65,4.4), layer=68, texttype=5))
core__place_3.add(gdstk.Label('s3_vss_m1', (26.15,2), layer=68, texttype=5))
core__place_3.add(gdstk.Label('s4_vddr_m1', (33.825,4.4), layer=68, texttype=5))
core__place_3.add(gdstk.Label('s4_vss_m1', (34.325,2), layer=68, texttype=5))

core__sig_3 = lib.new_cell('core__sig$3')
A(core__sig_3, li1, 12.775, 1.66, 0.42, 0.42, 4, 1, 8.175, 0)
A(core__sig_3, li1, 13.99, 1.865, 0.42, 0.42, 3, 1, 8.175, 0)
R(core__sig_3, li1, [(4.58,0,5,0.42)])
A(core__sig_3, mcon, 12.875, 1.76, 0.22, 0.22, 4, 1, 8.175, 0)
A(core__sig_3, mcon, 14.09, 1.965, 0.22, 0.22, 3, 1, 8.175, 0)
R(core__sig_3, mcon, [(4.68,0.1,4.9,0.32)])
A(core__sig_3, met1, 12.775, 1.66, 0.42, 0.42, 4, 1, 8.175, 0)
A(core__sig_3, met1, 13.99, 1.865, 0.42, 0.42, 3, 1, 8.175, 0)
R(core__sig_3, met1, [(4.58,0,5,0.42)])
core__sig_3.add(gdstk.FlexPath([(4.79,0.21),(4.79,-1.5),(12.985,-1.5),(12.985,1.87)], 0.17, ends="flush", simple_path=True, layer=68, datatype=20))  # met1
core__sig_3.add(gdstk.FlexPath([(14.2,2.075),(14.2,-1.5),(21.16,-1.5),(21.16,1.87)], 0.17, ends="flush", simple_path=True, layer=68, datatype=20))  # met1
core__sig_3.add(gdstk.FlexPath([(22.375,2.075),(22.375,-1.5),(29.335,-1.5),(29.335,1.87)], 0.17, ends="flush", simple_path=True, layer=68, datatype=20))  # met1
core__sig_3.add(gdstk.FlexPath([(30.55,2.075),(30.55,-1.5),(37.51,-1.5),(37.51,1.87)], 0.17, ends="flush", simple_path=True, layer=68, datatype=20))  # met1
core__sig_3.add(gdstk.Reference(core__place_3, (0,0)))
core__sig_3.add(gdstk.Label('g_a', (4.98,2.75), layer=67, texttype=5))
core__sig_3.add(gdstk.Label('g_en', (3.685,1.975), layer=67, texttype=5))
core__sig_3.add(gdstk.Label('s4_y', (38.725,2.075), layer=67, texttype=5))
core__sig_3.add(gdstk.Label('n1', (9.718,-1.5), layer=68, texttype=5))
core__sig_3.add(gdstk.Label('n2', (17.578,-1.5), layer=68, texttype=5))
core__sig_3.add(gdstk.Label('n3', (25.752,-1.5), layer=68, texttype=5))
core__sig_3.add(gdstk.Label('n4', (33.928,-1.5), layer=68, texttype=5))
core__sig_3.add(gdstk.Label('g_vddr_m1', (0,4.4), layer=68, texttype=5))
core__sig_3.add(gdstk.Label('g_vss_m1', (0.5,2), layer=68, texttype=5))
core__sig_3.add(gdstk.Label('s1_vddr_m1', (9.3,4.4), layer=68, texttype=5))
core__sig_3.add(gdstk.Label('s1_vss_m1', (9.8,2), layer=68, texttype=5))
core__sig_3.add(gdstk.Label('s2_vddr_m1', (17.475,4.4), layer=68, texttype=5))
core__sig_3.add(gdstk.Label('s2_vss_m1', (17.975,2), layer=68, texttype=5))
core__sig_3.add(gdstk.Label('s3_vddr_m1', (25.65,4.4), layer=68, texttype=5))
core__sig_3.add(gdstk.Label('s3_vss_m1', (26.15,2), layer=68, texttype=5))
core__sig_3.add(gdstk.Label('s4_vddr_m1', (33.825,4.4), layer=68, texttype=5))
core__sig_3.add(gdstk.Label('s4_vss_m1', (34.325,2), layer=68, texttype=5))

lib.write_gds('core__sig_3.gds')
